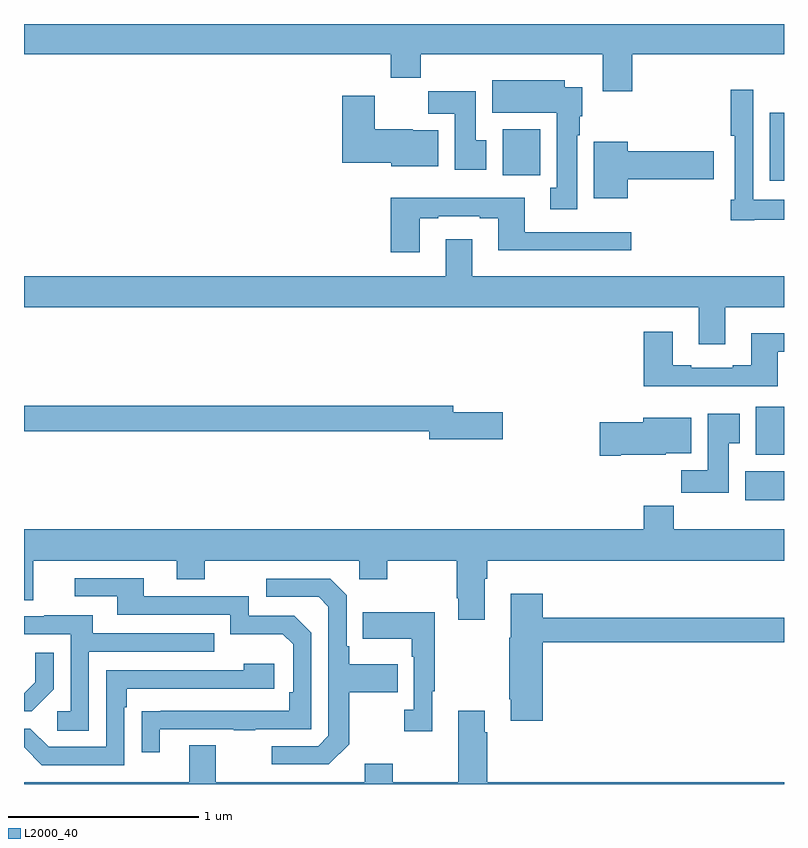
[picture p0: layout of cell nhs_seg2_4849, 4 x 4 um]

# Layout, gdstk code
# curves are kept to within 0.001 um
import gdstk
lib = gdstk.Library(unit=1e-6, precision=1e-09)
def R(c, l, rs):  # rectangles x0, y0, x1, y1
    for r in rs: c.add(gdstk.rectangle(r[:2], r[2:], *l))
def P(c, l, *ps):  # polygons
    for p in ps: c.add(gdstk.Polygon(p, *l))
L2000_40 = (2000, 40)

nhs_seg2_4849 = lib.new_cell('nhs_seg2_4849')
R(nhs_seg2_4849, L2000_40, [(378.797,641.294,379,641.446), (378.851,641.534,379,641.785), (378.926,642.974,379,643.333), (377.519,643.004,377.716,643.246)])
P(nhs_seg2_4849, L2000_40, [(378.2,643.64),(379,643.64),(379,643.8),(375,643.8),(375,643.64),(376.931,643.64),(376.931,643.516),(377.087,643.516),(377.087,643.64),(378.047,643.64),(378.047,643.446),(378.2,643.446)],
  [(377.911,643.214),(377.926,643.214),(377.926,643.314),(377.938,643.314),(377.938,643.468),(377.845,643.468),(377.845,643.504),(377.465,643.504),(377.465,643.334),(377.804,643.334),(377.804,642.938),(377.771,642.938),(377.771,642.825),(377.911,642.825)],
  [(378.844,642.77),(379,642.77),(379,642.874),(378.837,642.874),(378.837,643.453),(378.721,643.453),(378.721,643.213),(378.741,643.213),(378.741,642.874),(378.721,642.874),(378.721,642.768),(378.844,642.768)],
  [(377.434,643.188),(377.377,643.188),(377.377,643.446),(377.128,643.446),(377.128,643.328),(377.267,643.328),(377.267,643.032),(377.434,643.032)],
  [(377.179,643.24),(377.046,643.24),(377.046,643.246),(376.846,643.246),(376.846,643.423),(376.676,643.423),(376.676,643.07),(376.932,643.07),(376.932,643.052),(377.179,643.052)],
  [(378.178,642.983),(378.631,642.983),(378.631,643.13),(378.178,643.13),(378.178,643.18),(377.999,643.18),(377.999,642.884),(378.178,642.884)],
  [(377.083,642.777),(377.179,642.777),(377.179,642.789),(377.399,642.789),(377.399,642.777),(377.495,642.777),(377.495,642.608),(378.196,642.608),(378.196,642.705),(377.635,642.705),(377.635,642.886),(376.931,642.886),(376.931,642.6),(377.083,642.6)],
  [(378.691,642.308),(379,642.308),(379,642.472),(377.359,642.472),(377.359,642.667),(377.219,642.667),(377.219,642.472),(375,642.472),(375,642.308),(378.551,642.308),(378.551,642.114),(378.691,642.114)],
  [(378.967,642.075),(379,642.075),(379,642.172),(378.827,642.172),(378.827,642.004),(378.731,642.004),(378.731,641.991),(378.511,641.991),(378.511,642.004),(378.415,642.004),(378.415,642.181),(378.263,642.181),(378.263,641.894),(378.967,641.894)],
  [(377.521,641.756),(377.26,641.756),(377.26,641.792),(375,641.792),(375,641.656),(377.132,641.656),(377.132,641.614),(377.521,641.614)],
  [(378.709,641.593),(378.766,641.593),(378.766,641.749),(378.599,641.749),(378.599,641.452),(378.46,641.452),(378.46,641.334),(378.709,641.334)],
  [(378.142,641.534),(378.378,641.534),(378.378,641.54),(378.511,641.54),(378.511,641.728),(378.26,641.728),(378.26,641.705),(378.03,641.705),(378.03,641.527),(378.142,641.527)],
  [(377.425,640.88),(377.438,640.88),(377.438,640.976),(379,640.976),(379,641.14),(378.419,641.14),(378.419,641.264),(378.263,641.264),(378.263,641.14),(375,641.14),(375,640.768),(375.049,640.768),(375.049,640.976),(375.803,640.976),(375.803,640.877),(375.951,640.877),(375.951,640.976),(376.764,640.976),(376.764,640.877),(376.911,640.877),(376.911,640.976),(377.278,640.976),(377.278,640.777),(377.285,640.777),(377.285,640.665),(377.425,640.665)],
  [(375.715,640.089),(376.105,640.089),(376.105,640.084),(376.217,640.084),(376.217,640.089),(376.512,640.089),(376.512,640.596),(376.422,640.686),(376.182,640.686),(376.182,640.788),(375.631,640.788),(375.631,640.884),(375.267,640.884),(375.267,640.788),(375.491,640.788),(375.491,640.692),(376.086,640.692),(376.086,640.589),(376.363,640.589),(376.416,640.536),(376.416,640.282),(376.396,640.282),(376.396,640.185),(375.619,640.184),(375.619,639.966),(375.715,639.966)],
  [(376.711,640.009),(376.711,640.282),(376.967,640.282),(376.967,640.429),(376.711,640.429),(376.711,640.525),(376.698,640.525),(376.698,640.794),(376.611,640.881),(376.275,640.881),(376.275,640.785),(376.551,640.785),(376.602,640.734),(376.602,640.053),(376.548,639.999),(376.305,639.999),(376.305,639.903),(376.605,639.903)],
  [(377.729,640.546),(379,640.546),(379,640.675),(377.729,640.675),(377.729,640.801),(377.561,640.801),(377.561,640.569),(377.554,640.569),(377.554,640.246),(377.561,640.246),(377.561,640.134),(377.729,640.134)],
  [(377.149,640.289),(377.161,640.289),(377.161,640.705),(376.783,640.705),(376.783,640.565),(377.04,640.565),(377.04,640.469),(377.052,640.469),(377.052,640.19),(377.001,640.19),(377.001,640.077),(377.149,640.077)],
  [(375.342,640.497),(376.001,640.497),(376.001,640.593),(375.361,640.593),(375.361,640.687),(375.107,640.687),(375.107,640.683),(375,640.683),(375,640.587),(375.246,640.587),(375.246,640.182),(375.174,640.182),(375.174,640.081),(375.342,640.081)],
  [(375.156,640.298),(375.156,640.492),(375.059,640.492),(375.059,640.335),(375.002,640.278),(375,640.278),(375,640.182),(375.04,640.182)],
  [(375.528,640.205),(375.541,640.205),(375.541,640.302),(376.318,640.302),(376.318,640.432),(376.157,640.432),(376.157,640.398),(375.432,640.398),(375.432,639.996),(375.129,639.996),(375.033,640.092),(375,640.092),(375,639.993),(375.093,639.9),(375.528,639.9)],
  [(379,639.808),(377.438,639.808),(377.438,640.073),(377.425,640.073),(377.425,640.186),(377.285,640.186),(377.285,639.808),(376.941,639.808),(376.941,639.907),(376.793,639.907),(376.793,639.808),(376.009,639.808),(376.009,640.003),(375.869,640.003),(375.869,639.808),(375,639.808),(375,639.8),(379,639.8)])

lib.write_gds('nhs_seg2_4849.gds')
